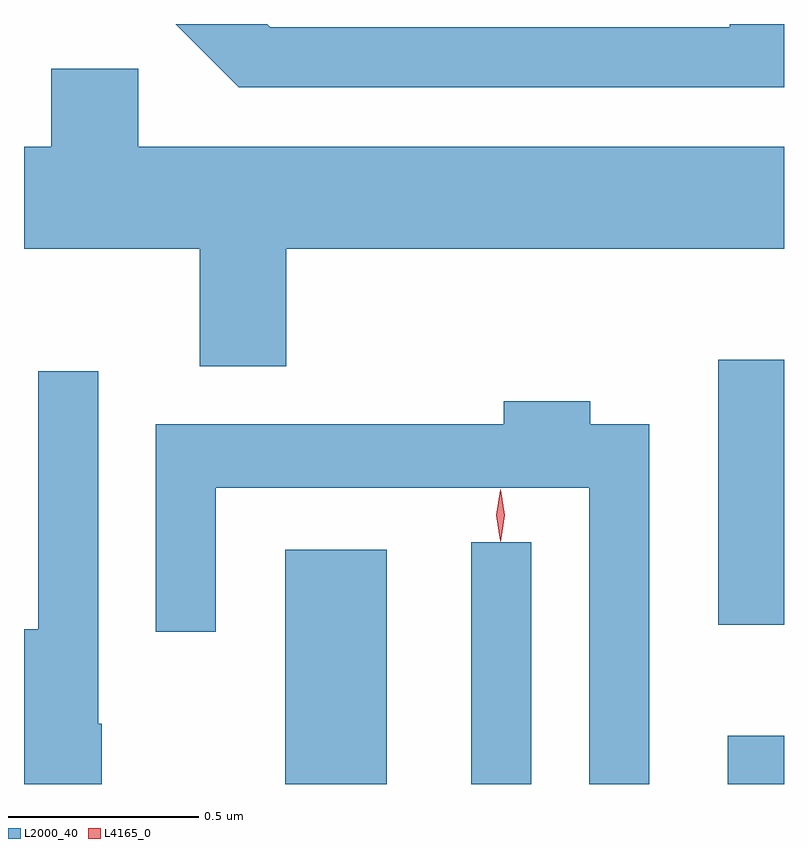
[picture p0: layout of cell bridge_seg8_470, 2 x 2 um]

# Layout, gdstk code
import gdstk
lib = gdstk.Library(unit=1e-6, precision=1e-09)
def R(c, l, rs):  # rectangles x0, y0, x1, y1
    for r in rs: c.add(gdstk.rectangle(r[:2], r[2:], *l))
def P(c, l, *ps):  # polygons
    for p in ps: c.add(gdstk.Polygon(p, *l))
L2000_40 = (2000, 40)
L4165_0 = (4165, 0)

bridge_seg8_470 = lib.new_cell('bridge_seg8_470')
R(bridge_seg8_470, L2000_40, [(544.936,1932.687,545.204,1933.304), (545.426,1932.687,545.584,1933.323), (546.101,1932.687,546.249,1932.814), (546.076,1933.106,546.249,1933.804)])
P(bridge_seg8_470, L2000_40, [(546.249,1934.687),(546.106,1934.687),(546.106,1934.679),(544.897,1934.679),(544.889,1934.687),(544.648,1934.687),(544.814,1934.521),(546.249,1934.521)],
  [(544.939,1934.096),(546.249,1934.096),(546.249,1934.364),(544.549,1934.364),(544.549,1934.569),(544.321,1934.569),(544.321,1934.364),(544.249,1934.364),(544.249,1934.096),(544.711,1934.096),(544.711,1933.786),(544.939,1933.786)],
  [(544.454,1932.845),(544.444,1932.845),(544.444,1933.773),(544.286,1933.773),(544.286,1933.094),(544.249,1933.094),(544.249,1932.687),(544.454,1932.687)],
  [(545.894,1933.634),(545.739,1933.634),(545.739,1933.694),(545.511,1933.694),(545.511,1933.634),(544.596,1933.634),(544.596,1933.088),(544.754,1933.088),(544.754,1933.466),(545.736,1933.466),(545.736,1932.687),(545.894,1932.687)])
P(bridge_seg8_470, L4165_0, [(545.503,1933.324),(545.494,1933.394),(545.503,1933.462),(545.504,1933.463),(545.504,1933.462),(545.514,1933.394),(545.504,1933.324),(545.504,1933.324)],
  [(545.502,1933.327),(545.502,1933.327),(545.492,1933.394),(545.502,1933.46),(545.502,1933.46),(545.503,1933.46),(545.512,1933.394),(545.503,1933.327)])

lib.write_gds('bridge_seg8_470.gds')
